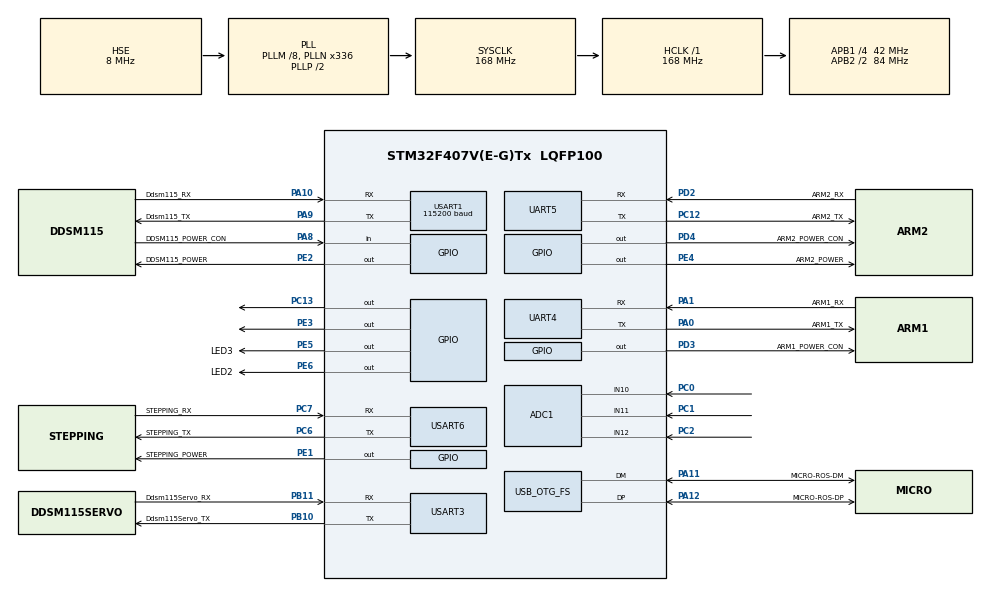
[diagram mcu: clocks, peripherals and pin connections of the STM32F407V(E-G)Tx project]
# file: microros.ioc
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ADC1.Channel-1\#ChannelRegularConversion=ADC_CHANNEL_10
ADC1.NbrOfConversionFlag=1
ADC1.Rank-1\#ChannelRegularConversion=1
ADC1.SamplingTime-1\#ChannelRegularConversion=ADC_SAMPLETIME_3CYCLES
ADC1.master=1
Dma.Request0=USART1_RX
Dma.Request1=USART3_RX
Dma.USART1_RX.0.Direction=DMA_PERIPH_TO_MEMORY
Dma.USART1_RX.0.FIFOMode=DMA_FIFOMODE_DISABLE
Dma.USART1_RX.0.Instance=DMA2_Stream2
Dma.USART1_RX.0.MemDataAlignment=DMA_MDATAALIGN_BYTE
Dma.USART1_RX.0.MemInc=DMA_MINC_ENABLE
Dma.USART1_RX.0.Mode=DMA_NORMAL
Dma.USART1_RX.0.PeriphDataAlignment=DMA_PDATAALIGN_BYTE
Dma.USART1_RX.0.PeriphInc=DMA_PINC_DISABLE
Dma.USART1_RX.0.Priority=DMA_PRIORITY_VERY_HIGH
Dma.USART3_RX.1.Direction=DMA_PERIPH_TO_MEMORY
Dma.USART3_RX.1.FIFOMode=DMA_FIFOMODE_DISABLE
Dma.USART3_RX.1.Instance=DMA1_Stream1
Dma.USART3_RX.1.MemDataAlignment=DMA_MDATAALIGN_BYTE
Dma.USART3_RX.1.MemInc=DMA_MINC_ENABLE
Dma.USART3_RX.1.Mode=DMA_NORMAL
Dma.USART3_RX.1.PeriphDataAlignment=DMA_PDATAALIGN_BYTE
Dma.USART3_RX.1.PeriphInc=DMA_PINC_DISABLE
Dma.USART3_RX.1.Priority=DMA_PRIORITY_VERY_HIGH
FREERTOS.Tasks01=defaultTask,24,3000,StartDefaultTask,Default,NULL,Dynamic,NULL,NULL
FREERTOS.configENABLE_FPU=0
FREERTOS.configTOTAL_HEAP_SIZE=15360
Mcu.Family=STM32F4
Mcu.Name=STM32F407V(E-G)Tx
Mcu.Package=LQFP100
NVIC.DMA1_Stream1_IRQn=true\:5\:0\:false\:false\:true\:true\:false\:true\:true
NVIC.DMA2_Stream2_IRQn=true\:5\:0\:false\:false\:true\:true\:false\:true\:true
NVIC.OTG_FS_IRQn=true\:5\:0\:false\:false\:true\:true\:true\:true\:true
NVIC.PriorityGroup=NVIC_PRIORITYGROUP_4
NVIC.TIM1_UP_TIM10_IRQn=true\:15\:0\:false\:false\:true\:false\:false\:true\:true
NVIC.TimeBase=TIM1_UP_TIM10_IRQn
NVIC.TimeBaseIP=TIM10
NVIC.UART4_IRQn=true\:5\:0\:false\:false\:true\:true\:true\:true\:true
NVIC.USART1_IRQn=true\:5\:0\:false\:false\:true\:true\:true\:true\:true
NVIC.USART3_IRQn=true\:5\:0\:true\:false\:true\:true\:true\:true\:true
NVIC.USART6_IRQn=true\:5\:0\:false\:false\:true\:true\:true\:true\:true
PA0-WKUP.GPIO_Label=ARM1_TX
PA0-WKUP.Mode=Asynchronous
PA0-WKUP.Signal=UART4_TX
PA1.GPIO_Label=ARM1_RX
PA1.Mode=Asynchronous
PA1.Signal=UART4_RX
PA10.GPIO_Label=Ddsm115_RX
PA10.Mode=Asynchronous
PA10.Signal=USART1_RX
PA11.GPIO_Label=MICRO-ROS-DM
PA11.Mode=Device_Only
PA11.Signal=USB_OTG_FS_DM
PA12.GPIO_Label=MICRO-ROS-DP
PA12.Mode=Device_Only
PA12.Signal=USB_OTG_FS_DP
PA13.Mode=Serial_Wire
PA13.Signal=SYS_JTMS-SWDIO
PA14.Mode=Serial_Wire
PA14.Signal=SYS_JTCK-SWCLK
PA8.GPIO_Label=DDSM115_POWER_CON
PA8.Signal=GPIO_Input
PA9.GPIO_Label=Ddsm115_TX
PA9.Mode=Asynchronous
PA9.Signal=USART1_TX
PB10.GPIO_Label=Ddsm115Servo_TX
PB10.Mode=Asynchronous
PB10.Signal=USART3_TX
PB11.GPIO_Label=Ddsm115Servo_RX
PB11.Mode=Asynchronous
PB11.Signal=USART3_RX
PB8.Signal=CAN1_RX
PB9.Signal=CAN1_TX
PC0.Signal=ADCx_IN10
PC1.Signal=ADCx_IN11
PC12.GPIO_Label=ARM2_TX
PC12.Mode=Asynchronous
PC12.Signal=UART5_TX
PC13-ANTI_TAMP.Signal=GPIO_Output
PC2.Signal=ADCx_IN12
PC6.GPIO_Label=STEPPING_TX
PC6.Mode=Asynchronous
PC6.Signal=USART6_TX
PC7.GPIO_Label=STEPPING_RX
PC7.Mode=Asynchronous
PC7.Signal=USART6_RX
PD2.GPIO_Label=ARM2_RX
PD2.Mode=Asynchronous
PD2.Signal=UART5_RX
PD3.GPIO_Label=ARM1_POWER_CON
PD3.Signal=GPIO_Output
PD4.GPIO_Label=ARM2_POWER_CON
PD4.Signal=GPIO_Output
PE1.GPIO_Label=STEPPING_POWER
PE1.Signal=GPIO_Output
PE2.GPIO_Label=DDSM115_POWER
PE2.Signal=GPIO_Output
PE3.Signal=GPIO_Output
PE4.GPIO_Label=ARM2_POWER
PE4.Signal=GPIO_Output
PE5.GPIO_Label=LED3
PE5.Signal=GPIO_Output
PE6.GPIO_Label=LED2
PE6.Signal=GPIO_Output
PH0-OSC_IN.Mode=HSE-External-Oscillator
PH0-OSC_IN.Signal=RCC_OSC_IN
PH1-OSC_OUT.Mode=HSE-External-Oscillator
PH1-OSC_OUT.Signal=RCC_OSC_OUT
ProjectManager.HeapSize=0x800
ProjectManager.StackSize=0x400
ProjectManager.TargetToolchain=STM32CubeIDE
RCC.48MHZClocksFreq_Value=48000000
RCC.AHBFreq_Value=168000000
RCC.APB1CLKDivider=RCC_HCLK_DIV4
RCC.APB1Freq_Value=42000000
RCC.APB1TimFreq_Value=84000000
RCC.APB2CLKDivider=RCC_HCLK_DIV2
RCC.APB2Freq_Value=84000000
RCC.APB2TimFreq_Value=168000000
RCC.CortexFreq_Value=168000000
RCC.HCLKFreq_Value=168000000
RCC.HSE_VALUE=8000000
RCC.HSI_VALUE=16000000
RCC.LSE_VALUE=32768
RCC.PLLM=8
RCC.PLLN=336
RCC.PLLQ=7
RCC.SYSCLKFreq_VALUE=168000000
RCC.SYSCLKSource=RCC_SYSCLKSOURCE_PLLCLK
RCC.VCOOutputFreq_Value=336000000
SH.ADCx_IN10.0=ADC1_IN10,IN10
SH.ADCx_IN11.0=ADC1_IN11,IN11
SH.ADCx_IN12.0=ADC1_IN12,IN12
UART4.VirtualMode=Asynchronous
UART5.VirtualMode=Asynchronous
USART1.BaudRate=115200
USART1.VirtualMode=VM_ASYNC
USART3.VirtualMode=VM_ASYNC
USART6.VirtualMode=VM_ASYNC
USB_DEVICE.CLASS_NAME_FS=CDC
USB_DEVICE.VirtualMode-CDC_FS=Cdc
USB_DEVICE.VirtualModeFS=Cdc_FS
USB_OTG_FS.VirtualMode=Device_Only
VP_FREERTOS_VS_CMSIS_V2.Mode=CMSIS_V2
VP_SYS_VS_tim10.Mode=TIM10
VP_USB_DEVICE_VS_USB_DEVICE_CDC_FS.Mode=CDC_FS
board=custom

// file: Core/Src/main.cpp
/* USER CODE BEGIN Header */
/**
  ******************************************************************************
  * @file           : main.c
  * @brief          : Main program body
  ******************************************************************************
  * @attention
  *
  * Copyright (c) 2024 STMicroelectronics.
  * All rights reserved.
  *
  * This software is licensed under terms that can be found in the LICENSE file
  * in the root directory of this software component.
  * If no LICENSE file comes with this software, it is provided AS-IS.
  *
  ******************************************************************************
  */
/* USER CODE END Header */
#include "main.h"
#include "cmsis_os.h"
#include "adc.h"
#include "dma.h"
#include "usart.h"
#include "usb_device.h"
#include "gpio.h"

#ifdef __cplusplus
extern "C" {
#endif

void SystemClock_Config(void);
void MX_FREERTOS_Init(void);
/* USER CODE BEGIN PFP */
#ifdef __GNUC__
/* With GCC, small printf (option LD Linker->Libraries->Small printf
   set to 'Yes') calls __io_putchar() */
#define PUTCHAR_PROTOTYPE int __io_putchar(int ch)
#else
#define PUTCHAR_PROTOTYPE int fputc(int ch, FILE *f)
#endif /* __GNUC__ */
#ifdef __cplusplus
}
#endif
/* USER CODE END PFP */

int main(void)
{

    /* MCU Configuration--------------------------------------------------------*/

    /* Reset of all peripherals, Initializes the Flash interface and the Systick. */
    HAL_Init();

    /* Configure the system clock */
    SystemClock_Config();

    /* Initialize all configured peripherals */
    MX_GPIO_Init();
    MX_DMA_Init();
    MX_USART1_UART_Init();
   // MX_USART2_UART_Init();
    MX_ADC1_Init();
   MX_UART4_Init();
   MX_UART5_Init();
   MX_USART3_UART_Init();
   MX_USART6_UART_Init();

    /* Init scheduler */
    osKernelInitialize();

    /* Call init function for freertos objects (in freertos.c) */
    MX_FREERTOS_Init();

    /* Start scheduler */
    osKernelStart();

    /* We should never get here as control is now taken by the scheduler */
    /* Infinite loop */
    while (1)
    {

    }
}

void SystemClock_Config(void)
{
    RCC_OscInitTypeDef RCC_OscInitStruct = {0};
    RCC_ClkInitTypeDef RCC_ClkInitStruct = {0};

    /** Configure the main internal regulator output voltage
    */
    __HAL_RCC_PWR_CLK_ENABLE();
    __HAL_PWR_VOLTAGESCALING_CONFIG(PWR_REGULATOR_VOLTAGE_SCALE1);

    /** Initializes the RCC Oscillators according to the specified parameters
    * in the RCC_OscInitTypeDef structure.
    */
    RCC_OscInitStruct.OscillatorType = RCC_OSCILLATORTYPE_HSE;
    RCC_OscInitStruct.HSEState = RCC_HSE_ON;
    RCC_OscInitStruct.PLL.PLLState = RCC_PLL_ON;
    RCC_OscInitStruct.PLL.PLLSource = RCC_PLLSOURCE_HSE;
    RCC_OscInitStruct.PLL.PLLM = 8;
    RCC_OscInitStruct.PLL.PLLN = 336;
    RCC_OscInitStruct.PLL.PLLP = RCC_PLLP_DIV2;
    RCC_OscInitStruct.PLL.PLLQ = 7;
    if (HAL_RCC_OscConfig(&RCC_OscInitStruct) != HAL_OK)
    {
        Error_Handler();
    }

    /** Initializes the CPU, AHB and APB buses clocks
    */
    RCC_ClkInitStruct.ClockType = RCC_CLOCKTYPE_HCLK|RCC_CLOCKTYPE_SYSCLK
                                  |RCC_CLOCKTYPE_PCLK1|RCC_CLOCKTYPE_PCLK2;
    RCC_ClkInitStruct.SYSCLKSource = RCC_SYSCLKSOURCE_PLLCLK;
    RCC_ClkInitStruct.AHBCLKDivider = RCC_SYSCLK_DIV1;
    RCC_ClkInitStruct.APB1CLKDivider = RCC_HCLK_DIV4;
    RCC_ClkInitStruct.APB2CLKDivider = RCC_HCLK_DIV2;

    if (HAL_RCC_ClockConfig(&RCC_ClkInitStruct, FLASH_LATENCY_5) != HAL_OK)
    {
        Error_Handler();
    }
}

void HAL_TIM_PeriodElapsedCallback(TIM_HandleTypeDef *htim)
{
    if (htim->Instance == TIM10) {
        HAL_IncTick();
    }
}

void Error_Handler(void)
{
    __disable_irq();
    while (1)
    {
    }
}

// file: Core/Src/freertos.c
/* USER CODE BEGIN Header */
/**
  ******************************************************************************
  * File Name          : freertos.c
  * Description        : Code for freertos applications
  ******************************************************************************
  * @attention
  *
  * Copyright (c) 2023 STMicroelectronics.
  * All rights reserved.
  *
  * This software is licensed under terms that can be found in the LICENSE file
  * in the root directory of this software component.
  * If no LICENSE file comes with this software, it is provided AS-IS.
  *
  ******************************************************************************
  */
/* USER CODE END Header */

#include "FreeRTOS.h"
#include "task.h"
#include "main.h"
#include "cmsis_os.h"

/* USER CODE BEGIN Includes */
#include "ddsm115_c_api.h"
#include "usart.h"
#include "usbd_cdc_if.h"
#include "usbd_cdc.h"
#include "queue.h"
#include "semphr.h"
#include "crc.h"
#include "std_msgs/msg/detail/int16__struct.h"
#include "std_msgs/msg/detail/int16_multi_array__struct.h"
#include "std_msgs/msg/detail/int16_multi_array__type_support.h"
#include "sensor_msgs/msg/detail/joint_state__struct.h"
#include "sensor_msgs/msg/joint_state.h"
#include <rcl/rcl.h>
#include <rcl/error_handling.h>
#include <rclc/rclc.h>
#include <rclc/executor.h>
#include <uxr/client/transport.h>
#include <rmw_microxrcedds_c/config.h>
#include <rmw_microros/rmw_microros.h>
#include <std_msgs/msg/int32.h>
#include "armquadrover_msgs//msg/ddsm115.h"
#include "armquadrover_msgs/msg/ddsm115_servo.h"
#include "arm_servo_c_api.h"
#include "stm32f4xx_it.h"
#include "servo_c_api.h"
#include "Emm_V5.h"
#include "fifo.h"

/*#ifdef __GNUC__
#define USED __attribute__((used))
#else
#define USED
#endif
extern const int USED uxTopUsedPriority = configMAX_PRIORITIES - 1;*/
void USART1_CALL(void);
void USART3_CALL(void);
/* USER CODE END Includes */

/* USER CODE BEGIN PTD */
//DMA_HandleTypeDef hdma_usart1_rx;
__IO bool rxFrameFlag = false;
extern USBD_HandleTypeDef hUsbDeviceFS;
QueueHandle_t  R485_DataQueue;
QueueHandle_t  Arm_Servo_DataQueue;
QueueHandle_t  stepping_DataQueue;
QueueHandle_t  DDSM115_Servo_DataQueue;
rcl_publisher_t publisher;
rcl_publisher_t  ArmStatesPubisher;
SemaphoreHandle_t re;
QueueHandle_t  speed_DataQueue;
int16_t ls[1];
uint8_t lsdata[10];
uint8_t rx_buffer[10];

/* USER CODE END PTD */

/* USER CODE BEGIN PD */
union DDSM115 ddsm115;
volatile union DDSM115 re_ddsm115;
/* USER CODE END PD */

/* Definitions for defaultTask */
osThreadId_t defaultTaskHandle;
const osThreadAttr_t defaultTask_attributes = {
  .name = "defaultTask",
  .stack_size = 3000 * 4,
  .priority = (osPriority_t) osPriorityNormal,
};

/* USER CODE BEGIN FunctionPrototypes */

bool cubemx_transport_open(struct uxrCustomTransport * transport);
bool cubemx_transport_close(struct uxrCustomTransport * transport);
size_t cubemx_transport_write(struct uxrCustomTransport* transport, const uint8_t * buf, size_t len, uint8_t * err);
size_t cubemx_transport_read(struct uxrCustomTransport* transport, uint8_t* buf, size_t len, int timeout, uint8_t* err);

void * microros_allocate(size_t size, void * state);
void microros_deallocate(void * pointer, void * state);
void * microros_reallocate(void * pointer, size_t size, void * state);
void * microros_zero_allocate(size_t number_of_elements, size_t size_of_element, void * state);

void USART1_CALL(void)
{
    uint32_t tmp_flag ;
    int len;
    uint8_t data[10];
    tmp_flag  = __HAL_UART_GET_FLAG(&huart1, UART_FLAG_IDLE);
    if( tmp_flag  != RESET)
    {
        __HAL_UART_CLEAR_IDLEFLAG(&huart1);
        HAL_UART_DMAStop(&huart1);
       len = 10 - __HAL_DMA_GET_COUNTER(&hdma_usart1_rx);
        if(len == 10)
        {
           memcpy(data,USART1_RX_BUF,len);
           xQueueSendFromISR(R485_DataQueue, data, 0);
       }
        HAL_UART_Receive_DMA(&huart1,USART1_RX_BUF,10);
    }
}
void USART3_CALL(void)
{
    uint32_t tmp_flag ;
    int len;
    uint8_t data[8];
    tmp_flag  = __HAL_UART_GET_FLAG(&huart3, UART_FLAG_IDLE);
    if( tmp_flag  != RESET)
    {
        __HAL_UART_CLEAR_IDLEFLAG(&huart3);
        HAL_UART_DMAStop(&huart3);
        len = 8 - __HAL_DMA_GET_COUNTER(&hdma_usart3_rx);
        if(len == 8)
        {
            memcpy(data,USART3_RX_BUF,len);
            xQueueSendFromISR(DDSM115_Servo_DataQueue, data, 0);
        }
        HAL_UART_Receive_DMA(&huart3,USART3_RX_BUF,8);
    }
}

void HAL_UARTEx_RxEventCallback(UART_HandleTypeDef *huart, uint16_t Size)
{

 /*   uint8_t uart6_len=0;
    uint8_t uart6_data[10];
    uint8_t uart3_len=0;
    uint8_t uart3_data[10];
    uint8_t uart4_len=0;
    uint8_t uart4_data[10];

    if(huart->Instance == USART3)
    {

        while (USART3_RX_BUF[uart3_len] != '\0')	uart3_len++;
        memcpy(uart3_data,USART3_RX_BUF,uart3_len);
        //HAL_UART_Transmit(&huart3,uart3_data,uart3_len,0xff);
        //xQueueSendFromISR(DDSM115_Servo_DataQueue, uart3_data, 0);
        xQueueOverwriteFromISR(DDSM115_Servo_DataQueue, uart3_data, 0);

        memset(USART3_RX_BUF, 0, 10);
        memset(uart3_data, 0, sizeof(uart3_data));

        HAL_UARTEx_ReceiveToIdle_IT(&huart3,USART3_RX_BUF,10);
    } else if (huart->Instance == USART6){

        while (USART6_RX_BUF[uart6_len] != '\0')	uart6_len++;
        memcpy(uart6_data,USART6_RX_BUF,uart6_len);

        xQueueOverwriteFromISR(stepping_DataQueue, uart6_data, 0);

        memset(USART6_RX_BUF, 0, 10);
        memset(uart6_data, 0, sizeof(uart6_data));
        rxFrameFlag = true;
        HAL_UARTEx_ReceiveToIdle_IT( &huart6,USART6_RX_BUF,10);
    }
    else if (huart->Instance == UART4){

        while (UART4_RX_BUF[uart4_len] != '\0')	uart4_len++;
        memcpy(uart4_data,UART4_RX_BUF,uart4_len);

        xQueueOverwriteFromISR(Arm_Servo_DataQueue, uart4_data, 0);

        memset(UART4_RX_BUF, 0, 10);
        memset(uart4_data, 0, sizeof(uart4_data));
        rxFrameFlag = true;
        HAL_UARTEx_ReceiveToIdle_IT( &huart4,UART4_RX_BUF,10);
    }*/
}

void rs485_subscription_callback(const void * msgin);
void stepping_subscription_callback(const void * msgin);
void rs485pub_timer_callback(rcl_timer_t * timer, int64_t last_call_time);
std_msgs__msg__Int16MultiArray arm_servo_states_data;
/* USER CODE END FunctionPrototypes */

void StartDefaultTask(void *argument);

extern void MX_USB_DEVICE_Init(void);
void MX_FREERTOS_Init(void); /* (MISRA C 2004 rule 8.1) */

void MX_FREERTOS_Init(void) {

  /* USER CODE BEGIN RTOS_QUEUES */
    /* add queues, ... */
    R485_DataQueue= xQueueCreate(10, sizeof(lsdata));
    //ARM1_DataQueue= xQueueCreate(10, sizeof(rx_buffer));
    DDSM115_Servo_DataQueue= xQueueCreate(10, sizeof(rx_buffer));
   stepping_DataQueue= xQueueCreate(1, sizeof(rx_buffer));
    Arm_Servo_DataQueue=xQueueCreate(10, sizeof(rx_buffer));
    speed_DataQueue= xQueueCreate(10,sizeof(std_msgs__msg__Int32));
  /* USER CODE END RTOS_QUEUES */

  /* Create the thread(s) */
  /* creation of defaultTask */
  defaultTaskHandle = osThreadNew(StartDefaultTask, NULL, &defaultTask_attributes);

}

void StartDefaultTask(void *argument)
{
  /* init code for USB_DEVICE */
  MX_USB_DEVICE_Init();
  /* USER CODE BEGIN StartDefaultTask */
    // micro-ROS configuration
    rmw_uros_set_custom_transport(
            true,
            NULL,
            cubemx_transport_open,
            cubemx_transport_close,
            cubemx_transport_write,
            cubemx_transport_read);

    rcl_allocator_t freeRTOS_allocator = rcutils_get_zero_initialized_allocator();
    freeRTOS_allocator.allocate = microros_allocate;
    freeRTOS_allocator.deallocate = microros_deallocate;
    freeRTOS_allocator.reallocate = microros_reallocate;
    freeRTOS_allocator.zero_allocate =  microros_zero_allocate;

    if (!rcutils_set_default_allocator(&freeRTOS_allocator)) {
        printf("Error on default allocators (line %d)\n", __LINE__);
    }

    // micro-ROS app
    rcl_subscription_t rs485sub;
    rcl_subscription_t stepping;
    rcl_timer_t rs485pub_timer;
    std_msgs__msg__Int32 msg;
    armquadrover_msgs__msg__DDSM115 ddsm115_rmsg;
    std_msgs__msg__Int32  stepping_rmsg;

    rclc_support_t support;
    rcl_allocator_t allocator;
    rclc_executor_t executor;
    rcl_node_t node;

    allocator = rcl_get_default_allocator();

    //create init_options
    rclc_support_init(&support, 0, NULL, &allocator);

    // create node
    rclc_node_init_default(&node, "base_node", "", &support);
    // create publisher
    rclc_publisher_init_default(
            &publisher,
            &node,
            ROSIDL_GET_MSG_TYPE_SUPPORT(armquadrover_msgs, msg, DDSM115),
            "base_states");
    // 创建订阅
    rclc_subscription_init_default(
            &rs485sub,
            &node,
            ROSIDL_GET_MSG_TYPE_SUPPORT(armquadrover_msgs, msg, DDSM115),
            "base_control"
            );
    rclc_subscription_init_default(
            &stepping,
            &node,
            ROSIDL_GET_MSG_TYPE_SUPPORT(std_msgs, msg, Int32),
            "stepping_control"
    );
    rclc_timer_init_default(
            &rs485pub_timer,
            &support,
            RCL_MS_TO_NS(10),
            rs485pub_timer_callback);
    msg.data = 0;
    executor = rclc_executor_get_zero_initialized_executor();
    rclc_executor_init(&executor,&support.context,3,&allocator);
    rclc_executor_add_timer(&executor,&rs485pub_timer);
    rclc_executor_add_subscription(&executor, &rs485sub ,&ddsm115_rmsg, rs485_subscription_callback,ON_NEW_DATA);
    rclc_executor_add_subscription(&executor, &stepping, &stepping_rmsg, stepping_subscription_callback, ON_NEW_DATA);

    for(;;)
    {
        rclc_executor_spin_some(&executor, RCL_MS_TO_NS(100));
        osDelay(10);
    }
  /* USER CODE END StartDefaultTask */
}

/* USER CODE BEGIN Application */
armquadrover_msgs__msg__DDSM115  ddsm115Servo;
void rs485pub_timer_callback(rcl_timer_t * timer, int64_t last_call_time)
{
    armquadrover_msgs__msg__DDSM115  ddsm11;
    ddsm11=getCurrentSpeed();
    rcl_publish(&publisher,&ddsm11,NULL);
    HAL_GPIO_TogglePin(GPIOC, GPIO_PIN_13);
}
void rs485_subscription_callback(const void * msgin)
{
    const armquadrover_msgs__msg__DDSM115  * msg = (const armquadrover_msgs__msg__DDSM115 *)msgin;
    setTargetSpeed(msg->front_left,msg->rear_left,msg->rear_right,msg->front_right,msg->front_left_servo,msg->rear_left_servo,msg->rear_right_servo,msg->front_right_servo);
}
void stepping_subscription_callback(const void * msgin)
{

    const std_msgs__msg__Int32* msg = (const std_msgs__msg__Int32*)msgin;
    if(msg->data>0) {
        Emm_V5_Pos_Control(1, 0, 1000, 10, msg->data / 72.0 * 3200, 1, 0);
    } else{
        Emm_V5_Pos_Control(1, 1, 1000, 10, msg->data / 72.0 * 3200, 1, 0);
    }
}

/* USER CODE END Application */
